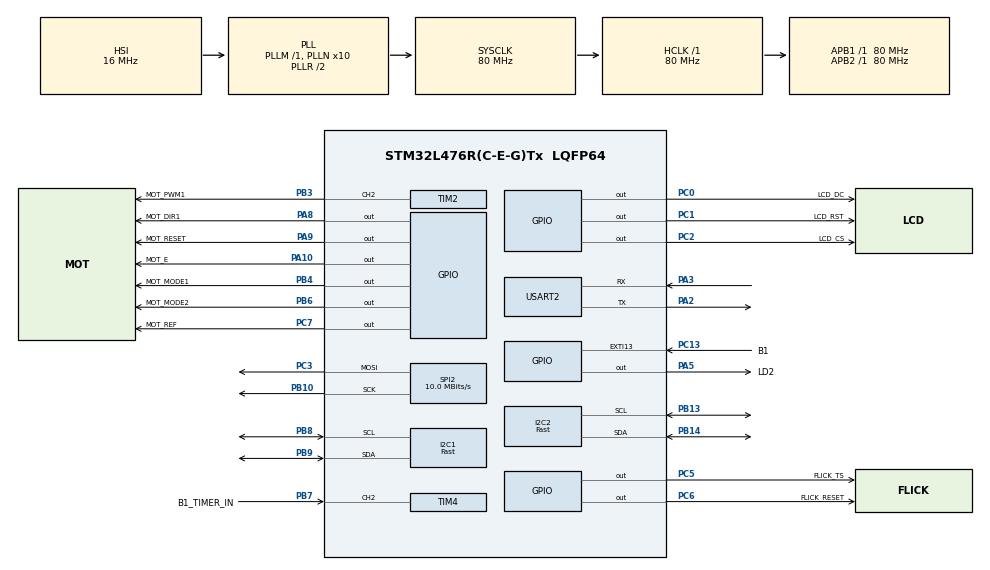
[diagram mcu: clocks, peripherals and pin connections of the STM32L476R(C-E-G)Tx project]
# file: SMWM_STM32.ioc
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I2C1.I2C_Speed_Mode=I2C_Fast
I2C1.OwnAddress=0x42
I2C1.Timing=0x00702991
I2C2.I2C_Speed_Mode=I2C_Fast
I2C2.Timing=0x00702991
Mcu.Family=STM32L4
Mcu.Name=STM32L476R(C-E-G)Tx
Mcu.Package=LQFP64
NVIC.PriorityGroup=NVIC_PRIORITYGROUP_4
NVIC.TIM2_IRQn=true\:0\:0\:false\:false\:true\:true\:true\:true
PA10.GPIO_Label=MOT_E
PA10.Signal=GPIO_Output
PA13\ (JTMS-SWDIO).Mode=Serial_Wire
PA13\ (JTMS-SWDIO).Signal=SYS_JTMS-SWDIO
PA14\ (JTCK-SWCLK).Mode=Serial_Wire
PA14\ (JTCK-SWCLK).Signal=SYS_JTCK-SWCLK
PA2.GPIO_Mode=GPIO_MODE_AF_PP
PA2.GPIO_ModeDefaultPP=GPIO_MODE_AF_PP
PA2.GPIO_PuPd=GPIO_NOPULL
PA2.GPIO_Speed=GPIO_SPEED_FREQ_VERY_HIGH
PA2.Mode=Asynchronous
PA2.Signal=USART2_TX
PA3.GPIO_Mode=GPIO_MODE_AF_PP
PA3.GPIO_ModeDefaultPP=GPIO_MODE_AF_PP
PA3.GPIO_PuPd=GPIO_NOPULL
PA3.GPIO_Speed=GPIO_SPEED_FREQ_VERY_HIGH
PA3.Mode=Asynchronous
PA3.Signal=USART2_RX
PA5.GPIO_Label=LD2
PA5.Signal=GPIO_Output
PA8.GPIO_Label=MOT_DIR1
PA8.GPIO_ModeDefaultOutputPP=GPIO_MODE_OUTPUT_PP
PA8.GPIO_PuPd=GPIO_NOPULL
PA8.GPIO_Speed=GPIO_SPEED_FREQ_LOW
PA8.PinState=GPIO_PIN_RESET
PA8.Signal=GPIO_Output
PA9.GPIO_Label=MOT_RESET
PA9.GPIO_ModeDefaultOutputPP=GPIO_MODE_OUTPUT_PP
PA9.GPIO_PuPd=GPIO_NOPULL
PA9.GPIO_Speed=GPIO_SPEED_FREQ_LOW
PA9.PinState=GPIO_PIN_RESET
PA9.Signal=GPIO_Output
PB10.GPIO_PuPd=GPIO_NOPULL
PB10.GPIO_Speed=GPIO_SPEED_FREQ_VERY_HIGH
PB10.Mode=TX_Only_Simplex_Unidirect_Master
PB10.Signal=SPI2_SCK
PB13.GPIO_Pu=GPIO_PULLUP
PB13.Mode=I2C
PB13.Signal=I2C2_SCL
PB14.GPIO_Pu=GPIO_PULLUP
PB14.Mode=I2C
PB14.Signal=I2C2_SDA
PB3\ (JTDO-TRACESWO).GPIO_Label=MOT_PWM1
PB3\ (JTDO-TRACESWO).GPIO_ModeDefaultPP=GPIO_MODE_AF_OD
PB3\ (JTDO-TRACESWO).GPIO_PuPd=GPIO_PULLUP
PB3\ (JTDO-TRACESWO).GPIO_Speed=GPIO_SPEED_FREQ_MEDIUM
PB3\ (JTDO-TRACESWO).Signal=S_TIM2_CH2
PB4\ (NJTRST).GPIO_Label=MOT_MODE1
PB4\ (NJTRST).GPIO_ModeDefaultOutputPP=GPIO_MODE_OUTPUT_PP
PB4\ (NJTRST).GPIO_PuPd=GPIO_NOPULL
PB4\ (NJTRST).GPIO_Speed=GPIO_SPEED_FREQ_LOW
PB4\ (NJTRST).PinState=GPIO_PIN_RESET
PB4\ (NJTRST).Signal=GPIO_Output
PB6.GPIO_FM6=__NULL
PB6.GPIO_Label=MOT_MODE2
PB6.GPIO_ModeDefaultOutputPP=GPIO_MODE_OUTPUT_PP
PB6.GPIO_PuPd=GPIO_NOPULL
PB6.GPIO_Speed=GPIO_SPEED_FREQ_LOW
PB6.PinState=GPIO_PIN_RESET
PB6.Signal=GPIO_Output
PB7.GPIO_Label=B1_TIMER_IN
PB7.Signal=S_TIM4_CH2
PB8.GPIO_Pu=GPIO_PULLUP
PB8.Mode=I2C
PB8.Signal=I2C1_SCL
PB9.GPIO_Pu=GPIO_PULLUP
PB9.Mode=I2C
PB9.Signal=I2C1_SDA
PC0.GPIO_Label=LCD_DC
PC0.GPIO_Speed=GPIO_SPEED_FREQ_VERY_HIGH
PC0.Signal=GPIO_Output
PC1.GPIO_Label=LCD_RST
PC1.GPIO_Speed=GPIO_SPEED_FREQ_HIGH
PC1.Signal=GPIO_Output
PC13.GPIO_Label=B1
PC13.GPIO_ModeDefaultEXTI=GPIO_MODE_IT_RISING
PC13.GPIO_PuPd=GPIO_NOPULL
PC13.Signal=GPXTI13
PC14-OSC32_IN\ (PC14).Mode=LSE-External-Oscillator
PC14-OSC32_IN\ (PC14).Signal=RCC_OSC32_IN
PC15-OSC32_OUT\ (PC15).Mode=LSE-External-Oscillator
PC15-OSC32_OUT\ (PC15).Signal=RCC_OSC32_OUT
PC2.GPIO_Label=LCD_CS
PC2.GPIO_Speed=GPIO_SPEED_FREQ_VERY_HIGH
PC2.Signal=GPIO_Output
PC3.GPIO_PuPd=GPIO_PULLUP
PC3.GPIO_Speed=GPIO_SPEED_FREQ_VERY_HIGH
PC3.Mode=TX_Only_Simplex_Unidirect_Master
PC3.Signal=SPI2_MOSI
PC5.GPIO_Label=FLICK_TS
PC5.GPIO_ModeDefaultOutputPP=GPIO_MODE_OUTPUT_OD
PC5.GPIO_PuPd=GPIO_PULLUP
PC5.GPIO_Speed=GPIO_SPEED_FREQ_HIGH
PC5.Signal=GPIO_Output
PC6.GPIO_Label=FLICK_RESET
PC6.Signal=GPIO_Output
PC7.GPIO_Label=MOT_REF
PC7.GPIO_ModeDefaultOutputPP=GPIO_MODE_OUTPUT_PP
PC7.GPIO_PuPd=GPIO_NOPULL
PC7.GPIO_Speed=GPIO_SPEED_FREQ_LOW
PC7.PinState=GPIO_PIN_RESET
PC7.Signal=GPIO_Output
PH0-OSC_IN\ (PH0).Signal=RCC_OSC_IN
PH1-OSC_OUT\ (PH1).Signal=RCC_OSC_OUT
ProjectManager.HeapSize=0x200
ProjectManager.StackSize=0x400
ProjectManager.TargetToolchain=STM32CubeIDE
RCC.ADCFreq_Value=64000000
RCC.AHBFreq_Value=80000000
RCC.APB1Freq_Value=80000000
RCC.APB1TimFreq_Value=80000000
RCC.APB2Freq_Value=80000000
RCC.APB2TimFreq_Value=80000000
RCC.CortexFreq_Value=80000000
RCC.HCLKFreq_Value=80000000
RCC.HSE_VALUE=8000000
RCC.HSI_VALUE=16000000
RCC.MSI_VALUE=4000000
RCC.PLLN=10
RCC.PLLSourceVirtual=RCC_PLLSOURCE_HSI
RCC.PREFETCH_ENABLE=1
RCC.SYSCLKFreq_VALUE=80000000
RCC.SYSCLKSource=RCC_SYSCLKSOURCE_PLLCLK
RCC.USBFreq_Value=64000000
RCC.VCOOutputFreq_Value=160000000
SH.S_TIM2_CH2.0=TIM2_CH2,PWM Generation2 CH2
SH.S_TIM4_CH2.0=TIM4_CH2,TriggerSource_TI2FP2
SPI2.BaudRatePrescaler=SPI_BAUDRATEPRESCALER_8
SPI2.CLKPhase=SPI_PHASE_1EDGE
SPI2.CalculateBaudRate=10.0 MBits/s
SPI2.DataSize=SPI_DATASIZE_8BIT
SPI2.Direction=SPI_DIRECTION_2LINES
SPI2.Mode=SPI_MODE_MASTER
SPI2.NSSPMode=SPI_NSS_PULSE_DISABLE
SPI2.VirtualType=VM_MASTER
TIM2.AutoReloadPreload=TIM_AUTORELOAD_PRELOAD_ENABLE
TIM2.Channel-PWM\ Generation2\ CH2=TIM_CHANNEL_2
TIM2.CounterMode=TIM_COUNTERMODE_DOWN
TIM2.Period=2000
TIM2.Prescaler=80
TIM2.Pulse-PWM\ Generation2\ CH2=1000
TIM2.TIM_MasterOutputTrigger=TIM_TRGO_UPDATE
TIM4.ClockDivision=TIM_CLOCKDIVISION_DIV1
TIM4.Prescaler=8000
TIM4.Slave_TriggerFilter=15
TIM4.Slave_TriggerPolarity=TIM_TRIGGERPOLARITY_FALLING
TIM4.TIM_MasterOutputTrigger=TIM_TRGO_ENABLE
USART2.VirtualMode-Asynchronous=VM_ASYNC
VP_TIM2_VS_ClockSourceINT.Mode=Internal
VP_TIM4_VS_ClockSourceINT.Mode=Internal
VP_TIM4_VS_ControllerModeGated.Mode=Gated Mode
board=NUCLEO-L476RG

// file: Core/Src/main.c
/* USER CODE BEGIN Header */
/**
  ******************************************************************************
  * @file           : main.c
  * @brief          : STM32L476 Nucleo-64 Workbench Tests @ WUT Mchtr
  ******************************************************************************
  * @attention
  *
  * Copyright (c) 2020 STMicroelectronics.<br>
  * Copyright (c) 2021 Mateusz Szumilas @ WUT Faculty of Mechatronics.<br>
  * All rights reserved.
  *
  * This software component is licensed under BSD 3-Clause license,
  * the "License"; You may not use this file except in compliance with the
  * License. You may obtain a copy of the License at:
  *                        opensource.org/licenses/BSD-3-Clause
  *
  ******************************************************************************
  */
/* USER CODE END Header */

//<<<<<<< HEAD
/* USER CODE BEGIN Includes */
#include "string.h"
#include "lcd.h"
#include <flick.h>
#include <lsm6ds33_reg.h>
#include <main.h>
#include <math.h>
#include <stdio.h>
#include <stm32_adafruit_lcd.h>
#include <stm32_hal_legacy.h>
#include <stm32l476xx.h>
#include <stm32l4xx_hal_def.h>
#include <stm32l4xx_hal_flash.h>
#include <stm32l4xx_hal_gpio.h>
#include <stm32l4xx_hal_i2c.h>
#include <stm32l4xx_hal_i2c_ex.h>
#include <stm32l4xx_hal_pwr_ex.h>
#include <stm32l4xx_hal_rcc.h>
#include <stm32l4xx_hal_rcc_ex.h>
#include <stm32l4xx_hal_spi.h>
#include <stm32l4xx_hal_tim.h>
#include <stm32l4xx_hal_tim_ex.h>
#include <stm32l4xx_hal_uart.h>
#include <stm32l4xx_hal_uart_ex.h>
#include <sys/_stdint.h>

#include "stepper.h"
#include "magneto.h"
/* USER CODE END Includes */

I2C_HandleTypeDef hi2c1;
I2C_HandleTypeDef hi2c2;

SPI_HandleTypeDef hspi2;

TIM_HandleTypeDef htim2;
TIM_HandleTypeDef htim4;

UART_HandleTypeDef huart2;

/* USER CODE BEGIN PV */

I2C_HandleTypeDef *hi2cflick = &hi2c1;

SPI_HandleTypeDef *hnucleo_Spi = &hspi2;

int pulse_cnt;
int servo_speed=50;
uint8_t rotation_cnt=0;
uint8_t position = 0;

/* USER CODE END PV */

void SystemClock_Config(void);
static void MX_GPIO_Init(void);
static void MX_USART2_UART_Init(void);
static void MX_TIM4_Init(void);
static void MX_TIM2_Init(void);
static void MX_SPI2_Init(void);
static void MX_I2C1_Init(void);
static void MX_I2C2_Init(void);
/* USER CODE BEGIN PFP */

void StInit(void);
void StMenu(void);
void StAzimuth(void);
void StRange(void);
void StEdit (void);
void StSpeed (void);
void flick_set_value(uint16_t *value, uint16_t min_value, uint16_t max_value);

/* USER CODE END PFP */

/* USER CODE BEGIN 0 */

void (*state_array[])() = {StInit, StMenu, StAzimuth,StRange,StEdit,StSpeed};
/* an enumerated type used for indexing the state_array */
typedef enum {ST_INIT, ST_MENU, ST_AZIMUTH, ST_RANGE, ST_EDIT,ST_SPEED} state_name_t;

state_name_t current_state;
state_name_t last_state;
state_name_t select_mode = 2;

uint8_t opt;
uint8_t last_opt;

uint16_t set_angle_1;
uint16_t set_angle_2;

uint32_t gesture, touch;
airwheel_data_t airwheel;

//stepper
STEPPER stepper;

void Pulse_Counter(void)
{
	if (pulse_cnt > 0) pulse_cnt--;
	else
	{
		HAL_TIM_PWM_Stop_IT(&htim2, TIM_CHANNEL_2);
		__HAL_TIM_SET_COUNTER(&htim2, 2000);
	}
}
/* USER CODE END 0 */

int main(void)
{

  /* MCU Configuration--------------------------------------------------------*/

  /* Reset of all peripherals, Initializes the Flash interface and the Systick. */
  HAL_Init();

  /* USER CODE BEGIN Init */
  current_state = ST_INIT;
  last_state = ST_INIT;
  /* USER CODE END Init */

  /* Configure the system clock */
  SystemClock_Config();

  /* Initialize all configured peripherals */
  MX_GPIO_Init();
  MX_USART2_UART_Init();
  MX_TIM4_Init();
  MX_TIM2_Init();
  MX_SPI2_Init();
  MX_I2C1_Init();
  MX_I2C2_Init();
  /* USER CODE BEGIN 2 */

  /* Magneto */
  /* cfg magneto */

  /*wpisanie funkcji cfg*/
  cfg_magneto(&hi2c2);

  /* USER CODE END 2 */

  /* Infinite loop */
  while (1)
  {

    /* USER CODE BEGIN 3 */

	  state_array[current_state]();

  }
  /* USER CODE END 3 */
}

void SystemClock_Config(void)
{
  RCC_OscInitTypeDef RCC_OscInitStruct = {0};
  RCC_ClkInitTypeDef RCC_ClkInitStruct = {0};
  RCC_PeriphCLKInitTypeDef PeriphClkInit = {0};

  /** Configure the main internal regulator output voltage
  */
  if (HAL_PWREx_ControlVoltageScaling(PWR_REGULATOR_VOLTAGE_SCALE1) != HAL_OK)
  {
    Error_Handler();
  }

  /** Initializes the RCC Oscillators according to the specified parameters
  * in the RCC_OscInitTypeDef structure.
  */
  RCC_OscInitStruct.OscillatorType = RCC_OSCILLATORTYPE_HSI;
  RCC_OscInitStruct.HSIState = RCC_HSI_ON;
  RCC_OscInitStruct.HSICalibrationValue = RCC_HSICALIBRATION_DEFAULT;
  RCC_OscInitStruct.PLL.PLLState = RCC_PLL_ON;
  RCC_OscInitStruct.PLL.PLLSource = RCC_PLLSOURCE_HSI;
  RCC_OscInitStruct.PLL.PLLM = 1;
  RCC_OscInitStruct.PLL.PLLN = 10;
  RCC_OscInitStruct.PLL.PLLP = RCC_PLLP_DIV7;
  RCC_OscInitStruct.PLL.PLLQ = RCC_PLLQ_DIV2;
  RCC_OscInitStruct.PLL.PLLR = RCC_PLLR_DIV2;
  if (HAL_RCC_OscConfig(&RCC_OscInitStruct) != HAL_OK)
  {
    Error_Handler();
  }

  /** Initializes the CPU, AHB and APB buses clocks
  */
  RCC_ClkInitStruct.ClockType = RCC_CLOCKTYPE_HCLK|RCC_CLOCKTYPE_SYSCLK
                              |RCC_CLOCKTYPE_PCLK1|RCC_CLOCKTYPE_PCLK2;
  RCC_ClkInitStruct.SYSCLKSource = RCC_SYSCLKSOURCE_PLLCLK;
  RCC_ClkInitStruct.AHBCLKDivider = RCC_SYSCLK_DIV1;
  RCC_ClkInitStruct.APB1CLKDivider = RCC_HCLK_DIV1;
  RCC_ClkInitStruct.APB2CLKDivider = RCC_HCLK_DIV1;

  if (HAL_RCC_ClockConfig(&RCC_ClkInitStruct, FLASH_LATENCY_4) != HAL_OK)
  {
    Error_Handler();
  }
  PeriphClkInit.PeriphClockSelection = RCC_PERIPHCLK_USART2|RCC_PERIPHCLK_I2C1
                              |RCC_PERIPHCLK_I2C2;
  PeriphClkInit.Usart2ClockSelection = RCC_USART2CLKSOURCE_PCLK1;
  PeriphClkInit.I2c1ClockSelection = RCC_I2C1CLKSOURCE_PCLK1;
  PeriphClkInit.I2c2ClockSelection = RCC_I2C2CLKSOURCE_PCLK1;
  if (HAL_RCCEx_PeriphCLKConfig(&PeriphClkInit) != HAL_OK)
  {
    Error_Handler();
  }
  /** Configure the main internal regulator output voltage
  */
  if (HAL_PWREx_ControlVoltageScaling(PWR_REGULATOR_VOLTAGE_SCALE1) != HAL_OK)
  {
    Error_Handler();
  }
}

static void MX_I2C1_Init(void)
{

  hi2c1.Instance = I2C1;
  hi2c1.Init.Timing = 0x00702991;
  hi2c1.Init.OwnAddress1 = 132;
  hi2c1.Init.AddressingMode = I2C_ADDRESSINGMODE_7BIT;
  hi2c1.Init.DualAddressMode = I2C_DUALADDRESS_DISABLE;
  hi2c1.Init.OwnAddress2 = 0;
  hi2c1.Init.OwnAddress2Masks = I2C_OA2_NOMASK;
  hi2c1.Init.GeneralCallMode = I2C_GENERALCALL_DISABLE;
  hi2c1.Init.NoStretchMode = I2C_NOSTRETCH_DISABLE;
  if (HAL_I2C_Init(&hi2c1) != HAL_OK)
  {
    Error_Handler();
  }

  /** Configure Analogue filter
  */
  if (HAL_I2CEx_ConfigAnalogFilter(&hi2c1, I2C_ANALOGFILTER_ENABLE) != HAL_OK)
  {
    Error_Handler();
  }

  /** Configure Digital filter
  */
  if (HAL_I2CEx_ConfigDigitalFilter(&hi2c1, 0) != HAL_OK)
  {
    Error_Handler();
  }

}

static void MX_I2C2_Init(void)
{

  hi2c2.Instance = I2C2;
  hi2c2.Init.Timing = 0x00702991;
  hi2c2.Init.OwnAddress1 = 0;
  hi2c2.Init.AddressingMode = I2C_ADDRESSINGMODE_7BIT;
  hi2c2.Init.DualAddressMode = I2C_DUALADDRESS_DISABLE;
  hi2c2.Init.OwnAddress2 = 0;
  hi2c2.Init.OwnAddress2Masks = I2C_OA2_NOMASK;
  hi2c2.Init.GeneralCallMode = I2C_GENERALCALL_DISABLE;
  hi2c2.Init.NoStretchMode = I2C_NOSTRETCH_DISABLE;
  if (HAL_I2C_Init(&hi2c2) != HAL_OK)
  {
    Error_Handler();
  }

  /** Configure Analogue filter
  */
  if (HAL_I2CEx_ConfigAnalogFilter(&hi2c2, I2C_ANALOGFILTER_ENABLE) != HAL_OK)
  {
    Error_Handler();
  }

  /** Configure Digital filter
  */
  if (HAL_I2CEx_ConfigDigitalFilter(&hi2c2, 0) != HAL_OK)
  {
    Error_Handler();
  }

}

static void MX_SPI2_Init(void)
{

  /* SPI2 parameter configuration*/
  hspi2.Instance = SPI2;
  hspi2.Init.Mode = SPI_MODE_MASTER;
  hspi2.Init.Direction = SPI_DIRECTION_2LINES;
  hspi2.Init.DataSize = SPI_DATASIZE_8BIT;
  hspi2.Init.CLKPolarity = SPI_POLARITY_LOW;
  hspi2.Init.CLKPhase = SPI_PHASE_1EDGE;
  hspi2.Init.NSS = SPI_NSS_SOFT;
  hspi2.Init.BaudRatePrescaler = SPI_BAUDRATEPRESCALER_4;
  hspi2.Init.FirstBit = SPI_FIRSTBIT_MSB;
  hspi2.Init.TIMode = SPI_TIMODE_DISABLE;
  hspi2.Init.CRCCalculation = SPI_CRCCALCULATION_DISABLE;
  hspi2.Init.CRCPolynomial = 7;
  hspi2.Init.CRCLength = SPI_CRC_LENGTH_DATASIZE;
  hspi2.Init.NSSPMode = SPI_NSS_PULSE_DISABLE;
  if (HAL_SPI_Init(&hspi2) != HAL_OK)
  {
    Error_Handler();
  }

}

static void MX_TIM2_Init(void)
{

  TIM_ClockConfigTypeDef sClockSourceConfig = {0};
  TIM_MasterConfigTypeDef sMasterConfig = {0};
  TIM_OC_InitTypeDef sConfigOC = {0};

  htim2.Instance = TIM2;
  htim2.Init.Prescaler = 80;
  htim2.Init.CounterMode = TIM_COUNTERMODE_DOWN;
  htim2.Init.Period = 2000;
  htim2.Init.ClockDivision = TIM_CLOCKDIVISION_DIV1;
  htim2.Init.AutoReloadPreload = TIM_AUTORELOAD_PRELOAD_ENABLE;
  if (HAL_TIM_Base_Init(&htim2) != HAL_OK)
  {
    Error_Handler();
  }
  sClockSourceConfig.ClockSource = TIM_CLOCKSOURCE_INTERNAL;
  if (HAL_TIM_ConfigClockSource(&htim2, &sClockSourceConfig) != HAL_OK)
  {
    Error_Handler();
  }
  if (HAL_TIM_PWM_Init(&htim2) != HAL_OK)
  {
    Error_Handler();
  }
  sMasterConfig.MasterOutputTrigger = TIM_TRGO_UPDATE;
  sMasterConfig.MasterSlaveMode = TIM_MASTERSLAVEMODE_DISABLE;
  if (HAL_TIMEx_MasterConfigSynchronization(&htim2, &sMasterConfig) != HAL_OK)
  {
    Error_Handler();
  }
  sConfigOC.OCMode = TIM_OCMODE_PWM1;
  sConfigOC.Pulse = 1000;
  sConfigOC.OCPolarity = TIM_OCPOLARITY_HIGH;
  sConfigOC.OCFastMode = TIM_OCFAST_DISABLE;
  if (HAL_TIM_PWM_ConfigChannel(&htim2, &sConfigOC, TIM_CHANNEL_2) != HAL_OK)
  {
    Error_Handler();
  }
  HAL_TIM_MspPostInit(&htim2);

}

static void MX_TIM4_Init(void)
{

  TIM_ClockConfigTypeDef sClockSourceConfig = {0};
  TIM_SlaveConfigTypeDef sSlaveConfig = {0};
  TIM_MasterConfigTypeDef sMasterConfig = {0};

  htim4.Instance = TIM4;
  htim4.Init.Prescaler = 8000;
  htim4.Init.CounterMode = TIM_COUNTERMODE_UP;
  htim4.Init.Period = 65535;
  htim4.Init.ClockDivision = TIM_CLOCKDIVISION_DIV1;
  htim4.Init.AutoReloadPreload = TIM_AUTORELOAD_PRELOAD_DISABLE;
  if (HAL_TIM_Base_Init(&htim4) != HAL_OK)
  {
    Error_Handler();
  }
  sClockSourceConfig.ClockSource = TIM_CLOCKSOURCE_INTERNAL;
  if (HAL_TIM_ConfigClockSource(&htim4, &sClockSourceConfig) != HAL_OK)
  {
    Error_Handler();
  }
  sSlaveConfig.SlaveMode = TIM_SLAVEMODE_GATED;
  sSlaveConfig.InputTrigger = TIM_TS_TI2FP2;
  sSlaveConfig.TriggerPolarity = TIM_TRIGGERPOLARITY_FALLING;
  sSlaveConfig.TriggerFilter = 15;
  if (HAL_TIM_SlaveConfigSynchro(&htim4, &sSlaveConfig) != HAL_OK)
  {
    Error_Handler();
  }
  sMasterConfig.MasterOutputTrigger = TIM_TRGO_ENABLE;
  sMasterConfig.MasterSlaveMode = TIM_MASTERSLAVEMODE_DISABLE;
  if (HAL_TIMEx_MasterConfigSynchronization(&htim4, &sMasterConfig) != HAL_OK)
  {
    Error_Handler();
  }

}

static void MX_USART2_UART_Init(void)
{

  huart2.Instance = USART2;
  huart2.Init.BaudRate = 115200;
  huart2.Init.WordLength = UART_WORDLENGTH_8B;
  huart2.Init.StopBits = UART_STOPBITS_1;
  huart2.Init.Parity = UART_PARITY_NONE;
  huart2.Init.Mode = UART_MODE_TX_RX;
  huart2.Init.HwFlowCtl = UART_HWCONTROL_NONE;
  huart2.Init.OverSampling = UART_OVERSAMPLING_16;
  huart2.Init.OneBitSampling = UART_ONE_BIT_SAMPLE_DISABLE;
  huart2.AdvancedInit.AdvFeatureInit = UART_ADVFEATURE_NO_INIT;
  if (HAL_UART_Init(&huart2) != HAL_OK)
  {
    Error_Handler();
  }

}

static void MX_GPIO_Init(void)
{
  GPIO_InitTypeDef GPIO_InitStruct = {0};

  /* GPIO Ports Clock Enable */
  __HAL_RCC_GPIOC_CLK_ENABLE();
  __HAL_RCC_GPIOH_CLK_ENABLE();
  __HAL_RCC_GPIOA_CLK_ENABLE();
  __HAL_RCC_GPIOB_CLK_ENABLE();

  /*Configure GPIO pin Output Level */
  HAL_GPIO_WritePin(GPIOC, LCD_DC_Pin|LCD_RST_Pin|LCD_CS_Pin|FLICK_TS_Pin
                          |FLICK_RESET_Pin|MOT_REF_Pin, GPIO_PIN_RESET);

  /*Configure GPIO pin Output Level */
  HAL_GPIO_WritePin(GPIOA, LD2_Pin|MOT_DIR1_Pin|MOT_RESET_Pin|MOT_E_Pin, GPIO_PIN_RESET);

  /*Configure GPIO pin Output Level */
  HAL_GPIO_WritePin(GPIOB, MOT_MODE1_Pin|MOT_MODE2_Pin, GPIO_PIN_RESET);

  /*Configure GPIO pin : B1_Pin */
  GPIO_InitStruct.Pin = B1_Pin;
  GPIO_InitStruct.Mode = GPIO_MODE_IT_RISING;
  GPIO_InitStruct.Pull = GPIO_NOPULL;
  HAL_GPIO_Init(B1_GPIO_Port, &GPIO_InitStruct);

  /*Configure GPIO pins : LCD_DC_Pin LCD_CS_Pin */
  GPIO_InitStruct.Pin = LCD_DC_Pin|LCD_CS_Pin;
  GPIO_InitStruct.Mode = GPIO_MODE_OUTPUT_PP;
  GPIO_InitStruct.Pull = GPIO_NOPULL;
  GPIO_InitStruct.Speed = GPIO_SPEED_FREQ_VERY_HIGH;
  HAL_GPIO_Init(GPIOC, &GPIO_InitStruct);

  /*Configure GPIO pin : LCD_RST_Pin */
  GPIO_InitStruct.Pin = LCD_RST_Pin;
  GPIO_InitStruct.Mode = GPIO_MODE_OUTPUT_PP;
  GPIO_InitStruct.Pull = GPIO_NOPULL;
  GPIO_InitStruct.Speed = GPIO_SPEED_FREQ_HIGH;
  HAL_GPIO_Init(LCD_RST_GPIO_Port, &GPIO_InitStruct);

  /*Configure GPIO pins : LD2_Pin MOT_DIR1_Pin MOT_RESET_Pin MOT_E_Pin */
  GPIO_InitStruct.Pin = LD2_Pin|MOT_DIR1_Pin|MOT_RESET_Pin|MOT_E_Pin;
  GPIO_InitStruct.Mode = GPIO_MODE_OUTPUT_PP;
  GPIO_InitStruct.Pull = GPIO_NOPULL;
  GPIO_InitStruct.Speed = GPIO_SPEED_FREQ_LOW;
  HAL_GPIO_Init(GPIOA, &GPIO_InitStruct);

  /*Configure GPIO pin : FLICK_TS_Pin */
  GPIO_InitStruct.Pin = FLICK_TS_Pin;
  GPIO_InitStruct.Mode = GPIO_MODE_OUTPUT_OD;
  GPIO_InitStruct.Pull = GPIO_PULLUP;
  GPIO_InitStruct.Speed = GPIO_SPEED_FREQ_HIGH;
  HAL_GPIO_Init(FLICK_TS_GPIO_Port, &GPIO_InitStruct);

  /*Configure GPIO pins : FLICK_RESET_Pin MOT_REF_Pin */
  GPIO_InitStruct.Pin = FLICK_RESET_Pin|MOT_REF_Pin;
  GPIO_InitStruct.Mode = GPIO_MODE_OUTPUT_PP;
  GPIO_InitStruct.Pull = GPIO_NOPULL;
  GPIO_InitStruct.Speed = GPIO_SPEED_FREQ_LOW;
  HAL_GPIO_Init(GPIOC, &GPIO_InitStruct);

  /*Configure GPIO pins : MOT_MODE1_Pin MOT_MODE2_Pin */
  GPIO_InitStruct.Pin = MOT_MODE1_Pin|MOT_MODE2_Pin;
  GPIO_InitStruct.Mode = GPIO_MODE_OUTPUT_PP;
  GPIO_InitStruct.Pull = GPIO_NOPULL;
  GPIO_InitStruct.Speed = GPIO_SPEED_FREQ_LOW;
  HAL_GPIO_Init(GPIOB, &GPIO_InitStruct);

}

/* USER CODE BEGIN 4 */
void StInit(void)
{
	/* Stepstick */
	  HAL_TIM_Base_Start(&htim4);

	  HAL_GPIO_WritePin(MOT_RESET_GPIO_Port, MOT_RESET_Pin, GPIO_PIN_RESET);
	  HAL_GPIO_WritePin(MOT_MODE1_GPIO_Port, MOT_MODE1_Pin, GPIO_PIN_RESET);
	  HAL_GPIO_WritePin(MOT_MODE2_GPIO_Port, MOT_MODE2_Pin, GPIO_PIN_SET);
	  HAL_GPIO_WritePin(MOT_RESET_GPIO_Port, MOT_RESET_Pin, GPIO_PIN_SET);

	  /* LCD */
	  BSP_LCD_Init();
	  BSP_LCD_DisplayOn();

	  /* Sensors */
	  HAL_I2C_Init(&hi2c1);
	  HAL_I2C_Init(&hi2c2);

	  /* Flick */
	  flick_reset();
	  flick_set_param(0x90, 0x20, 0x20);

  stepper = stepper_inizialize(
			GPIOC, GPIO_PIN_7,
			GPIOA, GPIO_PIN_8,
			GPIOA, GPIO_PIN_9,
			GPIOA, GPIO_PIN_10,
			GPIOB, GPIO_PIN_4,
			GPIOB, GPIO_PIN_6,
			&htim2, TIM_CHANNEL_2);

	  /* IMU */
	  uint8_t i2c2_buf[10];
	  HAL_I2C_Mem_Read(&hi2c2, ACC_GYRO_ADDR, WHO_AM_I, I2C_MEMADD_SIZE_8BIT, i2c2_buf, 1, 1);
	  HAL_I2C_Mem_Read(&hi2c2, 0x1e<<1, 0x0f, I2C_MEMADD_SIZE_8BIT, i2c2_buf+1, 1, 1);

	  /* cfg gyro */
	  i2c2_buf[0] = 0x38;		// enable X,Y,Z axes
	  HAL_I2C_Mem_Write(&hi2c2, ACC_GYRO_ADDR, CTRL10_C, I2C_MEMADD_SIZE_8BIT, i2c2_buf, 1, 1);
	  i2c2_buf[0] = 0x14;		// 13 Hz ODR, 500 dps
	  HAL_I2C_Mem_Write(&hi2c2, ACC_GYRO_ADDR, CTRL2_G, I2C_MEMADD_SIZE_8BIT, i2c2_buf, 1, 1);

	  // cfg acc
	  i2c2_buf[0] = 0x38;		// enable X,Y,Z axes
	  HAL_I2C_Mem_Write(&hi2c2, ACC_GYRO_ADDR, CTRL9_XL, I2C_MEMADD_SIZE_8BIT, i2c2_buf, 1, 1);
	  i2c2_buf[0] = 0x10;		// 13 Hz ODR, +/- 2 g
	  HAL_I2C_Mem_Write(&hi2c2, ACC_GYRO_ADDR, CTRL1_XL, I2C_MEMADD_SIZE_8BIT, i2c2_buf, 1, 1);

	  current_state = ST_MENU;
}

void StMenu(void)
{
	if(current_state != last_state)
	{
		char str[40];
		BSP_LCD_Clear(LCD_COLOR_WHITE);

		sprintf(str, "MENU");
		BSP_LCD_DisplayStringAt(0, 1, (uint8_t *) str, CENTER_MODE);

		sprintf(str, "Wybierz opcje:");
		BSP_LCD_DisplayStringAt(0, 15, (uint8_t *) str, CENTER_MODE);

		sprintf(str, "<- Wybor trybu");
		BSP_LCD_DisplayStringAt(0, 70, (uint8_t *) str, LEFT_MODE);

		sprintf(str, "Ustaw predkosc ->");
		BSP_LCD_DisplayStringAt(0, 90, (uint8_t *) str, RIGHT_MODE);

		sprintf(str, "Aktywuj");
		BSP_LCD_DisplayStringAt(0, 147, (uint8_t *) str, CENTER_MODE);

		last_state = current_state;
	}

	// Odczyt gestu flick
	flick_poll_data(&gesture, &touch, &airwheel);
	HAL_Delay(10);
	flick_interaction_t interaction=flick_get_interaction(gesture,touch,airwheel);

	// Przejście do odpowiedniego stanus

	if(interaction == FLICK_TOUCH_LEWO)
	{
		current_state = ST_EDIT;
	}
	else if(interaction == FLICK_TOUCH_PRAWO)
	{
		current_state = ST_SPEED;
	}
	else if(interaction == FLICK_TOUCH_DOL)
	{
		current_state = select_mode;
	}
}
void StAzimuth(void)
{
	char str[40];
	uint8_t angle = 0;
	uint8_t last_angle = 0;

	// odczyt z magnetometru
	// wywolanie funkcji kierunek
	angle = kierunek_kompas(&hi2c2);	//0-255

	flick_poll_data(&gesture, &touch, &airwheel);

	if(current_state != last_state)
	{
		BSP_LCD_Clear(LCD_COLOR_WHITE);

		sprintf(str, "Utrzymanie azymutu");
		BSP_LCD_DisplayStringAt(0, 10, (uint8_t *) str, CENTER_MODE);
		BSP_LCD_DisplayStringAt(0, 20, "N", CENTER_MODE);

		sprintf(str, "Powrot do MENU");
		BSP_LCD_DisplayStringAt(0, 147, (uint8_t *) str, CENTER_MODE);
		last_state = current_state;
	}

	//uint8_t set_angle_1 = 3.14/3;	// kat testowy
	if (set_angle_1 != angle)
	{
		LCD_PrintDirection(set_angle_1, set_angle_1, 64, 80, 50, LCD_COLOR_BLACK); // zadany azymut
	}

	//angle = 3.14/4;	// kat testowy
	LCD_PrintDirection(angle, last_angle, 64, 80, 50, LCD_COLOR_RED); //aktualny azymut

	last_angle = angle;

	// dodać sterowanie silnikiem

	uint8_t set_position = angle - set_angle_1;
	if(!stepper.is_working)
	{
		stepper_set_destination(&stepper,set_position,2);
		stepper_proceed(&stepper);
	}

	// Przejść do stanu Menu
	flick_interaction_t interaction = flick_get_interaction(gesture,touch,airwheel);

	if(interaction == FLICK_TOUCH_SRODEK)
	{
		current_state = ST_MENU;
	}
}
void StRange(void)
{
	char str[40];

	uint8_t angle;
	uint8_t last_angle = 0;

	angle = kierunek_kompas(&hi2c2);	//0-255

	// odczyt z magnetometru

	flick_poll_data(&gesture, &touch, &airwheel);
	if(current_state != last_state)
	{
		BSP_LCD_Clear(LCD_COLOR_WHITE);

		sprintf(str, "Zakres");
		BSP_LCD_DisplayStringAt(0, 10, (uint8_t *) str, CENTER_MODE);

		sprintf(str, "Powrot do MENU");
		BSP_LCD_DisplayStringAt(0, 147, (uint8_t *) str, CENTER_MODE);
		last_state = current_state;
	}

	//angle = 0;	// kat testowy
	LCD_PrintDirection(angle, last_angle, 64, 80, 50, LCD_COLOR_RED); //aktualny azymut

	//zadany przez użytkownika dolny ogranicznik
	//uint8_t set_angle_1 = 0;	// kat testowy
	if (set_angle_1 != angle)
	{
		LCD_PrintDirection(set_angle_1, set_angle_1, 64, 80, 50, LCD_COLOR_BLACK); //ogranicznik 1
	}
	//zadany przez użytkownika gorny ogranicznik
	//uint8_t set_angle_2 = 0;	// kat testowy

	if (set_angle_2 != angle)
	{
		LCD_PrintDirection(set_angle_2, set_angle_2, 64, 80, 50, LCD_COLOR_BLACK); // ogranicznik 2
	}

	//sterowanie silnikiem
	uint8_t set_angle = set_angle_1;
	if(set_angle_1 == angle) angle = set_angle_2;
	if(set_angle_2 == angle) angle = set_angle_1;
	uint8_t set_position = angle - set_angle;

	if(!stepper.is_working)
	{
		stepper_set_destination(&stepper,set_position,2);
		stepper_proceed(&stepper);
	}

	// Przejść do stanu Menu
	flick_interaction_t interaction = flick_get_interaction(gesture,touch,airwheel);

	if(interaction == FLICK_TOUCH_SRODEK)
	{
		current_state = ST_MENU;
	}
}
void StEdit (void)
{
	char str[40];

	flick_poll_data(&gesture, &touch, &airwheel);
	if(current_state != last_state)
	{

		opt = 0;
		last_opt = 1;
		last_state = current_state;
	}

	if(opt == 0)
	{
		if(last_opt != opt)
		{
			BSP_LCD_Clear(LCD_COLOR_WHITE);
			sprintf(str, "Wybierz tryb");
			BSP_LCD_DisplayStringAt(0, 10, (uint8_t *) str, CENTER_MODE);

			sprintf(str, "Zatwierdz");
			BSP_LCD_DisplayStringAt(0, 147, (uint8_t *) str, CENTER_MODE);
		}

		uint8_t tmp = select_mode*10;
		flick_set_value(&tmp, ST_AZIMUTH*10, ST_RANGE*10);
		select_mode = tmp/10;

		if(select_mode == ST_AZIMUTH)
		{
			sprintf(str, "     Azymut    ");
			BSP_LCD_DisplayStringAt(0, 60, (uint8_t *) str, CENTER_MODE);
		}
		else if(select_mode == ST_RANGE)
		{
			sprintf(str, "     Zakres     ");
			BSP_LCD_DisplayStringAt(0, 60, (uint8_t *) str, CENTER_MODE);
		}

		last_opt = opt;
	}

	else if(opt == 1)
	{
		if(last_opt != opt)
		{
			BSP_LCD_Clear(LCD_COLOR_WHITE);
			sprintf(str, "Podaj dol wart");
			BSP_LCD_DisplayStringAt(0, 10, (uint8_t *) str, CENTER_MODE);

			sprintf(str, "Zatwierdz");
			BSP_LCD_DisplayStringAt(0, 147, (uint8_t *) str, CENTER_MODE);
		}

		flick_set_value(&set_angle_1, 0, 255);

		sprintf(str, "   %02d   ", set_angle_1);
		BSP_LCD_DisplayStringAt(0, 60, (uint8_t *) str, CENTER_MODE);
		last_opt = opt;
	}

	else if(opt == 2)
	{
		if(select_mode == ST_RANGE)
		{
			if(last_opt != opt)
			{
				BSP_LCD_Clear(LCD_COLOR_WHITE);
				sprintf(str, "Podaj gorna wart");
				BSP_LCD_DisplayStringAt(0, 10, (uint8_t *) str, CENTER_MODE);

				sprintf(str, "Zatwierdz");
				BSP_LCD_DisplayStringAt(0, 147, (uint8_t *) str, CENTER_MODE);
			}

			flick_set_value(&set_angle_2, 0, 255);

			sprintf(str, "   %02d   ", set_angle_2);
			BSP_LCD_DisplayStringAt(0, 60, (uint8_t *) str, CENTER_MODE);

			last_opt = opt;
		}
		else opt++;
	}

	else
	{
		current_state = ST_MENU;
	}
	HAL_Delay(500);

	// przejscie do kolejnej opcji
	flick_interaction_t interaction = flick_get_interaction(gesture,touch,airwheel);
	if(interaction == FLICK_TOUCH_SRODEK)
	{
		opt++;
	}
}
void StSpeed (void)
{
	char str[40];
	flick_poll_data(&gesture, &touch, &airwheel);
	if(current_state != last_state)
	{
		BSP_LCD_Clear(LCD_COLOR_WHITE);

		sprintf(str, "Podaj predkosc siln");
		BSP_LCD_DisplayStringAt(0, 10, (uint8_t *) str, CENTER_MODE);

		sprintf(str, "Zatwierdz");
		BSP_LCD_DisplayStringAt(0, 147, (uint8_t *) str, CENTER_MODE);
		last_state = current_state;
	}

	flick_set_speed(&servo_speed, airwheel, &rotation_cnt);
	stepper_set_speed(&stepper, servo_speed);
	// odczyt z flick i zmiana predkosci

	//wyswietlenie nastawionej predkosci
	sprintf(str, "   %02d   ", servo_speed);
	BSP_LCD_DisplayStringAt(0, 60, (uint8_t *) str, CENTER_MODE);

	// zatwierdz kliknieciem
	flick_interaction_t interaction = flick_get_interaction(gesture,touch,airwheel);
	if(interaction == FLICK_TOUCH_SRODEK)
	{
		current_state = ST_MENU;
	}
}
void flick_set_value(uint16_t *value, uint16_t min_value, uint16_t max_value)
{
	flick_poll_data(&gesture, &touch, &airwheel);
	flick_interaction_t interaction = flick_get_interaction(gesture,touch,airwheel);
	if(interaction == FLICK_TOUCH_LEWO)
	{
		*value = *value - 10;
		if(*value < min_value) *value = min_value;
	}
	else if(interaction == FLICK_TOUCH_PRAWO)
	{
		*value = *value + 10;
		if(*value > max_value) *value = max_value;
	}
}

void HAL_TIM_PeriodElapsedCallback(TIM_HandleTypeDef* htim)
{
	if(htim==stepper.Timer)
	{
		stepper.position+=stepper.direction;
		if(stepper.state==1)
		{
			if(stepper.position==stepper.destination[0])
			{
				HAL_TIM_PWM_Stop(stepper.Timer, stepper.Channel);
				HAL_TIM_Base_Stop_IT(stepper.Timer);
				stepper.is_working=0;
				stepper.state=0;
			}
		}
		else if(stepper.state==2)
		{
			if(stepper.position==stepper.destination[2])
			{
				stepper.speed=stepper.speed/2;
				__HAL_TIM_SET_PRESCALER(stepper.Timer, stepper.speed);
			}
			else if(stepper.position==stepper.destination[1])
			{
				stepper.speed=stepper.speed*2;
				__HAL_TIM_SET_PRESCALER(stepper.Timer, stepper.speed);
			}
			else if(stepper.position==stepper.destination[0])
			{
				HAL_TIM_PWM_Stop(stepper.Timer, stepper.Channel);
				HAL_TIM_Base_Stop_IT(stepper.Timer);
				stepper.is_working=0;
				stepper.state=0;
				stepper.speed=stepper.speed/2;
				__HAL_TIM_SET_PRESCALER(stepper.Timer, stepper.speed);
			}
		}
	}
}

/* USER CODE END 4 */

void Error_Handler(void)
{
}
